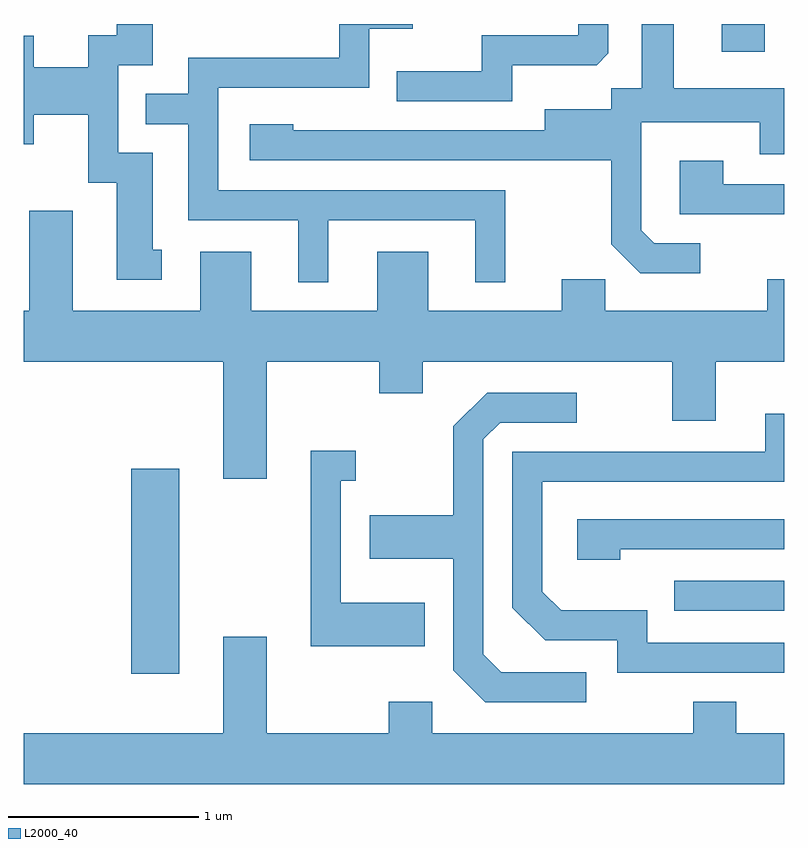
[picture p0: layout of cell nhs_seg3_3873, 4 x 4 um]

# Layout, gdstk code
import gdstk
lib = gdstk.Library(unit=1e-6, precision=1e-09)
def R(c, l, rs):  # rectangles x0, y0, x1, y1
    for r in rs: c.add(gdstk.rectangle(r[:2], r[2:], *l))
def P(c, l, *ps):  # polygons
    for p in ps: c.add(gdstk.Polygon(p, *l))
L2000_40 = (2000, 40)

nhs_seg3_3873 = lib.new_cell('nhs_seg3_3873')
R(nhs_seg3_3873, L2000_40, [(298.176,1246.476,298.429,1247.554), (301.033,1246.806,301.611,1246.964), (301.281,1249.746,301.509,1249.892)])
P(nhs_seg3_3873, L2000_40, [(298.338,1248.704),(298.289,1248.704),(298.289,1249.214),(298.109,1249.214),(298.109,1249.676),(298.289,1249.676),(298.289,1249.892),(298.101,1249.892),(298.101,1249.834),(297.951,1249.834),(297.951,1249.664),(297.664,1249.664),(297.664,1249.829),(297.611,1249.829),(297.611,1249.261),(297.664,1249.261),(297.664,1249.416),(297.951,1249.416),(297.951,1249.056),(298.101,1249.056),(298.101,1248.546),(298.338,1248.546)],
  [(301.168,1248.739),(300.927,1248.739),(300.859,1248.807),(300.859,1249.376),(301.481,1249.376),(301.481,1249.206),(301.611,1249.206),(301.611,1249.554),(301.029,1249.554),(301.029,1249.892),(300.861,1249.892),(300.861,1249.554),(300.701,1249.554),(300.701,1249.444),(300.351,1249.444),(300.351,1249.334),(299.029,1249.334),(299.029,1249.364),(298.801,1249.364),(298.801,1249.176),(300.701,1249.176),(300.701,1248.734),(300.854,1248.581),(301.168,1248.581)],
  [(300.179,1249.676),(300.624,1249.676),(300.684,1249.737),(300.684,1249.892),(300.526,1249.892),(300.526,1249.834),(300.021,1249.834),(300.021,1249.644),(299.573,1249.644),(299.573,1249.486),(300.179,1249.486)],
  [(299.214,1248.861),(299.986,1248.861),(299.986,1248.533),(300.144,1248.533),(300.144,1249.019),(298.634,1249.019),(298.634,1249.556),(299.429,1249.556),(299.429,1249.866),(299.658,1249.866),(299.658,1249.892),(299.271,1249.892),(299.271,1249.714),(298.476,1249.714),(298.476,1249.524),(298.253,1249.524),(298.253,1249.366),(298.476,1249.366),(298.476,1248.861),(299.056,1248.861),(299.056,1248.533),(299.214,1248.533)],
  [(301.611,1249.049),(301.289,1249.049),(301.289,1249.174),(301.061,1249.174),(301.061,1248.891),(301.611,1248.891)],
  [(298.809,1248.694),(298.541,1248.694),(298.541,1248.384),(297.869,1248.384),(297.869,1248.909),(297.641,1248.909),(297.641,1248.384),(297.611,1248.384),(297.611,1248.116),(298.661,1248.116),(298.661,1247.501),(298.889,1247.501),(298.889,1248.116),(299.481,1248.116),(299.481,1247.951),(299.709,1247.951),(299.709,1248.116),(301.021,1248.116),(301.021,1247.806),(301.249,1247.806),(301.249,1248.116),(301.611,1248.116),(301.611,1248.549),(301.521,1248.549),(301.521,1248.384),(300.669,1248.384),(300.669,1248.549),(300.441,1248.549),(300.441,1248.384),(299.739,1248.384),(299.739,1248.694),(299.471,1248.694),(299.471,1248.384),(298.809,1248.384)],
  [(300.568,1246.484),(300.122,1246.484),(300.029,1246.577),(300.029,1247.709),(300.117,1247.796),(300.518,1247.796),(300.518,1247.954),(300.049,1247.954),(299.871,1247.777),(299.871,1247.309),(299.431,1247.309),(299.431,1247.081),(299.871,1247.081),(299.871,1246.494),(300.039,1246.326),(300.568,1246.326)],
  [(301.611,1246.639),(300.889,1246.639),(300.889,1246.809),(300.437,1246.809),(300.339,1246.907),(300.339,1247.486),(301.611,1247.486),(301.611,1247.843),(301.511,1247.843),(301.511,1247.644),(300.181,1247.644),(300.181,1246.824),(300.354,1246.651),(300.731,1246.651),(300.731,1246.481),(301.611,1246.481)],
  [(299.719,1246.849),(299.279,1246.849),(299.279,1247.491),(299.358,1247.491),(299.358,1247.649),(299.121,1247.649),(299.121,1246.621),(299.719,1246.621)],
  [(300.749,1247.131),(301.611,1247.131),(301.611,1247.289),(300.521,1247.289),(300.521,1247.076),(300.749,1247.076)],
  [(301.611,1246.164),(301.359,1246.164),(301.359,1246.329),(301.131,1246.329),(301.131,1246.164),(299.759,1246.164),(299.759,1246.329),(299.531,1246.329),(299.531,1246.164),(298.889,1246.164),(298.889,1246.669),(298.661,1246.669),(298.661,1246.164),(297.611,1246.164),(297.611,1245.896),(301.611,1245.896)])

lib.write_gds('nhs_seg3_3873.gds')
